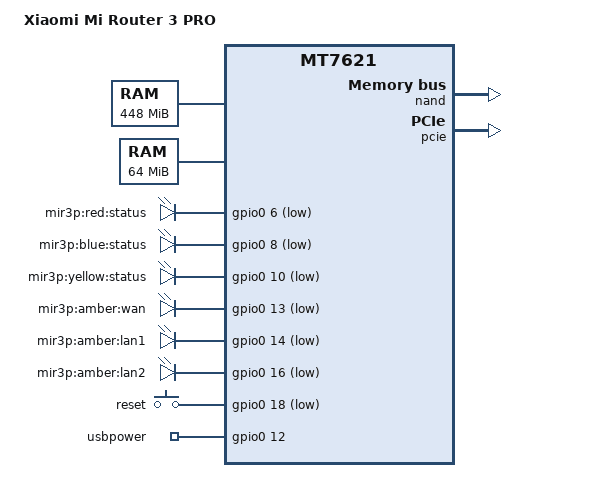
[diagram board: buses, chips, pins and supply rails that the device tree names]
/dts-v1/;

#include "mt7621.dtsi"

#include <dt-bindings/gpio/gpio.h>
#include <dt-bindings/input/input.h>

/ {
	compatible = "xiaomi,mir3p", "mediatek,mt7621-soc";
	model = "Xiaomi Mi Router 3 PRO";

	memory@0 {
		device_type = "memory";
		reg = <0x0 0x1c000000>;
	};

  	memory@1 {
		device_type = "memory";
		reg = <0x20000000 0x4000000>;
	};

	chosen {
		bootargs = "console=ttyS0,115200n8";
	};

	gpio-leds {
		compatible = "gpio-leds";

		status_red {
			label = "mir3p:red:status";
			gpios = <&gpio0 6 GPIO_ACTIVE_LOW>;
		};

		status_blue {
			label = "mir3p:blue:status";
			gpios = <&gpio0 8 GPIO_ACTIVE_LOW>;
		};

		status_yellow {
			label = "mir3p:yellow:status";
			gpios = <&gpio0 10 GPIO_ACTIVE_LOW>;
		};

		wan_amber {
			label = "mir3p:amber:wan";
			gpios = <&gpio0 13 GPIO_ACTIVE_LOW>;
		};

		lan1_amber {
			label = "mir3p:amber:lan1";
			gpios = <&gpio0 14 GPIO_ACTIVE_LOW>;
		};

		lan2_amber {
			label = "mir3p:amber:lan2";
			gpios = <&gpio0 16 GPIO_ACTIVE_LOW>;
		};

	};

	gpio-keys-polled {
		compatible = "gpio-keys-polled";
		#address-cells = <1>;
		#size-cells = <0>;
		poll-interval = <20>;

		reset {
			label = "reset";
			gpios = <&gpio0 18 GPIO_ACTIVE_LOW>;
			linux,code = <KEY_RESTART>;
		};
	};

	gpio_export {
		compatible = "gpio-export";
		#size-cells = <0>;

		usbpower {
			gpio-export,name = "usbpower";
			gpio-export,output = <1>;
			gpios = <&gpio0 12 GPIO_ACTIVE_HIGH>;
		};
	};
};

&nand {
	status = "okay";

	partition@0 {
		label = "Bootloader";
		reg = <0x0 0x40000>;
		read-only;
	};

	partition@40000 {
		label = "Config";
		reg = <0x40000 0x40000>;
	};

	partition@80000 {
		label = "Bdata";
		reg = <0x80000 0x40000>;
		read-only;
	};

	factory: partition@c0000 {
		label = "Factory";
		reg = <0xc0000 0x40000>;
		read-only;
	};

	partition@100000 {
		label = "crash";
		reg = <0x100000 0x40000>;
	};

	partition@140000 {
		label = "crash_syslog";
		reg = <0x140000 0x80000>;
	};

	partition@1c0000 {
		label = "reserved0";
		reg = <0x1c0000 0x40000>;
		read-only;
	};

	/* uboot expects to find kernels at 0x200000 & 0x600000
	 * referred to as system 1 & system 2 respectively.
	 * a kernel is considered suitable for handing control over
	 * if its linux magic number exists & uImage CRC are correct.
	 * If either of those conditions fail, a matching sys'n'_fail flag
	 * is set in uboot env & a restart performed in the hope that the
	 * alternate kernel is okay.
	 * if neither kernel checksums ok and both are marked failed, system 2
	 * is booted anyway.
	 *
	 * Note uboot's tftp flash install writes the transferred
	 * image to both kernel partitions.
	 */

	partition@200000 {
		label = "kernel_stock";
		reg = <0x200000 0x400000>;
	};

	partition@600000 {
		label = "kernel";
		reg = <0x600000 0x400000>;
	};

	/* ubi partition is the result of squashing
	 * next consecutive stock partitions:
	 * - rootfs0 (rootfs partition for stock kernel0),
	 * - rootfs1 (rootfs partition for stock failsafe kernel1),
	 * - overlay (used as ubi overlay in stock fw)
	 * resulting 117,5MiB space for packages.
	 */

	partition@a00000 {
		label = "ubi";
		reg = <0xa00000 0xf580000>;
	};
};

&pcie {
	status = "okay";

	pcie0 {
		mt76@0,0 {
			device_type = "pci";
			reg = <0x0000 0 0 0 0>;
			mediatek,mtd-eeprom = <&factory 0x0000>;
			ieee80211-freq-limit = <2400000 2500000>;
		};
	};

	pcie1 {
		mt76@0,1 {
			device_type = "pci";
			reg = <0x0000 0 0 0 0>;
			mediatek,mtd-eeprom = <&factory 0x8000>;
			ieee80211-freq-limit = <5000000 6000000>;
		};
	};
};

&ethernet {
	mtd-mac-address = <&factory 0xe000>;
	mediatek,portmap = "llllw";
};

&pinctrl {
	state_default: pinctrl0 {
		gpio {
			ralink,group = "jtag", "uart2", "uart3", "wdt";
			ralink,function = "gpio";
		};
	};
};
